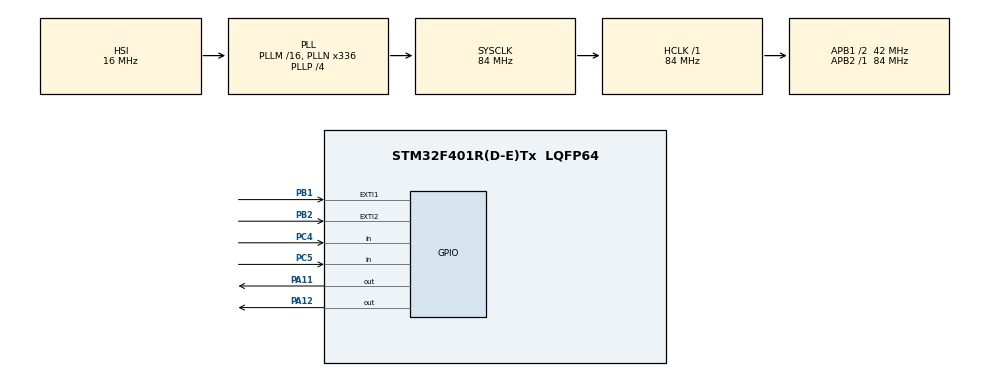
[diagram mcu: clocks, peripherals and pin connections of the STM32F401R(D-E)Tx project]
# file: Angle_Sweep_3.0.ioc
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Mcu.Family=STM32F4
Mcu.Name=STM32F401R(D-E)Tx
Mcu.Package=LQFP64
NVIC.EXTI1_IRQn=true\:0\:0\:false\:false\:true\:true\:true\:true
NVIC.EXTI2_IRQn=true\:0\:0\:false\:false\:true\:true\:true\:true
NVIC.PriorityGroup=NVIC_PRIORITYGROUP_0
NVIC.TIM1_UP_TIM10_IRQn=true\:0\:0\:false\:false\:true\:true\:true\:true
PA11.Signal=GPIO_Output
PA12.Signal=GPIO_Output
PB1.GPIO_PuPd=GPIO_PULLUP
PB1.Signal=GPXTI1
PB2.GPIO_PuPd=GPIO_PULLUP
PB2.Signal=GPXTI2
PC4.GPIO_PuPd=GPIO_PULLDOWN
PC4.Signal=GPIO_Input
PC5.GPIO_PuPd=GPIO_PULLDOWN
PC5.Signal=GPIO_Input
ProjectManager.HeapSize=0x200
ProjectManager.StackSize=0x400
ProjectManager.TargetToolchain=STM32CubeIDE
RCC.48MHZClocksFreq_Value=48000000
RCC.AHBFreq_Value=84000000
RCC.APB1CLKDivider=RCC_HCLK_DIV2
RCC.APB1Freq_Value=42000000
RCC.APB1TimFreq_Value=84000000
RCC.APB2Freq_Value=84000000
RCC.APB2TimFreq_Value=84000000
RCC.CortexFreq_Value=84000000
RCC.HCLKFreq_Value=84000000
RCC.HSE_VALUE=8000000
RCC.HSI_VALUE=16000000
RCC.LSE_VALUE=32768
RCC.PLLN=336
RCC.PLLP=RCC_PLLP_DIV4
RCC.PLLQ=7
RCC.SYSCLKFreq_VALUE=84000000
RCC.SYSCLKSource=RCC_SYSCLKSOURCE_PLLCLK
RCC.VCOOutputFreq_Value=336000000
TIM10.AutoReloadPreload=TIM_AUTORELOAD_PRELOAD_ENABLE
TIM10.Period=500
TIM10.Prescaler=16000
VP_RTC_VS_RTC_Activate.Mode=RTC_Enabled
VP_RTC_VS_RTC_Calendar.Mode=RTC_Calendar
VP_TIM10_VS_ClockSourceINT.Mode=Enable_Timer
board=NUCLEO-F401RE

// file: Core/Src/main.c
/* USER CODE BEGIN Header */
/**
  ******************************************************************************
  * @file           : main.c
  * @brief          : Main program body
  ******************************************************************************
  * @attention
  *
  * Copyright (c) 2022 STMicroelectronics.
  * All rights reserved.
  *
  * This software is licensed under terms that can be found in the LICENSE file
  * in the root directory of this software component.
  * If no LICENSE file comes with this software, it is provided AS-IS.
  *
  ******************************************************************************
  */
/* USER CODE END Header */
#include "main.h"

/* USER CODE BEGIN Includes */
#include "stdio.h"
#include <stdlib.h>
#include <string.h>
/* USER CODE END Includes */

RTC_HandleTypeDef hrtc;

TIM_HandleTypeDef htim10;

void SystemClock_Config(void);
static void MX_GPIO_Init(void);
static void MX_RTC_Init(void);
static void MX_TIM10_Init(void);
/* USER CODE BEGIN PFP */
float angle_to_step(float angle);
float step_to_angle(float step);
void update_pos();
void motor_move(float angle);
/* USER CODE END PFP */

/* USER CODE BEGIN 0 */

volatile int state = 0;
/*
 * 0: Pre-homing state
 * 1: Normal function
 * 2: Exception. FC1 interruption mode
 * 3: Exception. FC2 interruption mode
 * */
volatile int sweep = 0;
/*
 * 0: No sweep
 * 1: Sweep
 * */
volatile int32_t pos0 = 0; //step in which the motor is
volatile int32_t pos1 = 0; //step in which the motor is
volatile int32_t pos2 = 0; //step in which the motor is
volatile float angle = 0; //value of the angle the motor has to be at any time
volatile int step = 0;
volatile int counter = 0;
volatile int counter_calibration = 0;
/*
 * 0: No step
 * 1: Step
 * */

volatile int direction = 1;
/*
 * 1: Increment
 *-1: Decrement
 * */

volatile int flag_end_movement = 0;

/* 0: movement not finished
 * 1: movement finished
 * */

// Angle constants
float max_angle = 50; //max sweeping angle
float min_angle = -50; //min sweeping angle
float FC1_angle = -55.1; //security angle
float FC2_angle = 55.1; //calibration angle
float increment = 0.5;

// Timer constants

uint32_t sweep_time = 60; // s

//Initialization parameters

static volatile uint16_t gLastError;
L6474_Init_t gL6474InitParams =
{
    160,                               /// Acceleration rate in step/s2. Range: (0..+inf).
    160,                               /// Deceleration rate in step/s2. Range: (0..+inf).
    800,                              /// Maximum speed in step/s. Range: (30..10000].
    800,                               ///Minimum speed in step/s. Range: [30..10000).
    500,                               ///Torque regulation current in mA. (TVAL register) Range: 31.25mA to 4000mA.
    1000,                               ///Overcurrent threshold (OCD_TH register). Range: 375mA to 6000mA.
    L6474_CONFIG_OC_SD_ENABLE,         ///Overcurrent shutwdown (OC_SD field of CONFIG register).
    L6474_CONFIG_EN_TQREG_TVAL_USED,   /// Torque regulation method (EN_TQREG field of CONFIG register).
    L6474_STEP_SEL_1_16,               /// Step selection (STEP_SEL field of STEP_MODE register).
    L6474_SYNC_SEL_1_2,                /// Sync selection (SYNC_SEL field of STEP_MODE register).
    L6474_FAST_STEP_12us,              /// Fall time value (T_FAST field of T_FAST register). Range: 2us to 32us.
    L6474_TOFF_FAST_8us,               /// Maximum fast decay time (T_OFF field of T_FAST register). Range: 2us to 32us.
    3,                                 /// Minimum ON time in us (TON_MIN register). Range: 0.5us to 64us.
    21,                                /// Minimum OFF time in us (TOFF_MIN register). Range: 0.5us to 64us.
    L6474_CONFIG_TOFF_044us,           /// Target Swicthing Period (field TOFF of CONFIG register).
    L6474_CONFIG_SR_320V_us,           /// Slew rate (POW_SR field of CONFIG register).
    L6474_CONFIG_INT_16MHZ,            /// Clock setting (OSC_CLK_SEL field of CONFIG register).
    (L6474_ALARM_EN_OVERCURRENT      |
     L6474_ALARM_EN_THERMAL_SHUTDOWN |
     L6474_ALARM_EN_THERMAL_WARNING  |
     L6474_ALARM_EN_UNDERVOLTAGE     |
     L6474_ALARM_EN_SW_TURN_ON       |
     L6474_ALARM_EN_WRONG_NPERF_CMD)    /// Alarm (ALARM_EN register).
};
//Shield functions
void ErrorHandler_Shield(uint16_t error);
void MyFlagInterruptHandler(void)
{
  /* Get the value of the status register via the L6474 command GET_STATUS */
  uint16_t statusRegister = BSP_MotorControl_CmdGetStatus(0);

  /* Check HIZ flag: if set, power brigdes are disabled */
  if ((statusRegister & L6474_STATUS_HIZ) == L6474_STATUS_HIZ)
  {
    // HIZ state
    // Action to be customized
  }

  /* Check direction bit */
  if ((statusRegister & L6474_STATUS_DIR) == L6474_STATUS_DIR)
  {
    // Forward direction is set
    // Action to be customized
  }
  else
  {
    // Backward direction is set
    // Action to be customized
  }

  /* Check NOTPERF_CMD flag: if set, the command received by SPI can't be performed */
  /* This often occures when a command is sent to the L6474 */
  /* while it is in HIZ state */
  if ((statusRegister & L6474_STATUS_NOTPERF_CMD) == L6474_STATUS_NOTPERF_CMD)
  {
      // Command received by SPI can't be performed
     // Action to be customized
  }

  /* Check WRONG_CMD flag: if set, the command does not exist */
  if ((statusRegister & L6474_STATUS_WRONG_CMD) == L6474_STATUS_WRONG_CMD)
  {
     //command received by SPI does not exist
     // Action to be customized
  }

  /* Check UVLO flag: if not set, there is an undervoltage lock-out */
  if ((statusRegister & L6474_STATUS_UVLO) == 0)
  {
     //undervoltage lock-out
     // Action to be customized
  }

  /* Check TH_WRN flag: if not set, the thermal warning threshold is reached */
  if ((statusRegister & L6474_STATUS_TH_WRN) == 0)
  {
    //thermal warning threshold is reached
    // Action to be customized
  }

  /* Check TH_SHD flag: if not set, the thermal shut down threshold is reached */
  if ((statusRegister & L6474_STATUS_TH_SD) == 0)
  {
    //thermal shut down threshold is reached
    // Action to be customized
  }

  /* Check OCD  flag: if not set, there is an overcurrent detection */
  if ((statusRegister & L6474_STATUS_OCD) == 0)
  {
    //overcurrent detection
    // Action to be customized
  }

}

//Interruptions Callback
void HAL_GPIO_EXTI_Callback(uint16_t GPIO_Pin){

	if(GPIO_Pin == GPIO_PIN_2){ //Left FC standing at the north
		//Motor HardStop
		BSP_MotorControl_HardStop(0);
		BSP_MotorControl_HardStop(1);
		BSP_MotorControl_HardStop(2);
		state = 2;

	}
	else if(GPIO_Pin == GPIO_PIN_1){ //Right FC standing at the north
		//Motor HardStop
		BSP_MotorControl_HardStop(0);
		BSP_MotorControl_HardStop(1);
		BSP_MotorControl_HardStop(2);
		state = 3;

	}
	else if (GPIO_Pin == BSP_MOTOR_CONTROL_BOARD_FLAG_PIN) //Shield interrupt handler
	{
		BSP_MotorControl_FlagInterruptHandler();
	}
}

//Sweeper timer
void HAL_TIM_PeriodElapsedCallback(TIM_HandleTypeDef *htim){

	if (htim == &htim10){

	  //HAL_GPIO_TogglePin(GPIOA, GPIO_PIN_12);
	  counter++;

	  if (counter >= sweep_time){
		  sweep = 1; //start sweeping
		  counter = 0;

		  // If it's still in state 2 something went wrong
		  if (state == 2){
			  state = 0;
			  sweep = 0;
			  direction = 1;
		  }
	  }
	}

}

float angle_to_step(float angle){
	float conversion = angle * 164.8;
	return conversion;
}

float step_to_angle(float step){
	float conversion = angle / 164.8;
	return conversion;
}

void update_pos(){
	pos0 = BSP_MotorControl_GetPosition(0);
	pos1 = BSP_MotorControl_GetPosition(1);
	pos2 = BSP_MotorControl_GetPosition(2);
    angle = pos0 / 164.8;
}

void motor_move(float angle_to_go){
	update_pos();

	if (angle_to_go > angle){

		BSP_MotorControl_Move(0, FORWARD, 1);
		BSP_MotorControl_Move(1, FORWARD, 1);
		BSP_MotorControl_Move(2, FORWARD, 1);
		BSP_MotorControl_WaitWhileActive(0);
		BSP_MotorControl_WaitWhileActive(1);
		BSP_MotorControl_WaitWhileActive(2);
		update_pos();
	}

	else if (angle_to_go < angle){

		BSP_MotorControl_Move(0, BACKWARD, 1);
		BSP_MotorControl_Move(1, BACKWARD, 1);
		BSP_MotorControl_Move(2, BACKWARD, 1);
		BSP_MotorControl_WaitWhileActive(0);
		BSP_MotorControl_WaitWhileActive(1);
		BSP_MotorControl_WaitWhileActive(2);
		update_pos();
	}
	else {
		BSP_MotorControl_HardStop(0);
		flag_end_movement = 1;
		HAL_GPIO_WritePin(GPIOA, GPIO_PIN_11, RESET);
		HAL_GPIO_WritePin(GPIOA, GPIO_PIN_12, RESET);

	}

}
/* USER CODE END 0 */

int main(void)
{

  /* MCU Configuration--------------------------------------------------------*/

  /* Reset of all peripherals, Initializes the Flash interface and the Systick. */
  HAL_Init();

  /* Configure the system clock */
  SystemClock_Config();

  /* Initialise all configured peripherals */
  MX_GPIO_Init();
  MX_RTC_Init();
  MX_TIM10_Init();
  /* USER CODE BEGIN 2 */

  //Driver initialisation
  BSP_MotorControl_SetNbDevices(BSP_MOTOR_CONTROL_BOARD_ID_L6474, 3);

  /* Initialisation of first device */
  BSP_MotorControl_Init(BSP_MOTOR_CONTROL_BOARD_ID_L6474, &gL6474InitParams);
  /* Initialisation of second device */
  BSP_MotorControl_Init(BSP_MOTOR_CONTROL_BOARD_ID_L6474, &gL6474InitParams);
  /* Initialisation of third device */
  BSP_MotorControl_Init(BSP_MOTOR_CONTROL_BOARD_ID_L6474, &gL6474InitParams);

  BSP_MotorControl_AttachFlagInterrupt(MyFlagInterruptHandler);
  BSP_MotorControl_AttachErrorHandler(ErrorHandler_Shield);
  state = 0;

  /* USER CODE END 2 */

  /* Infinite loop */
  /* USER CODE BEGIN WHILE */
  while (1)
  {

	  if (state == 0){ //First calibration
		  BSP_MotorControl_SetMaxSpeed(0, 800);
		  BSP_MotorControl_SetMinSpeed(0, 800);
		  BSP_MotorControl_Move(0, FORWARD, 1);//Forward == Towards calibration FC
		  BSP_MotorControl_Move(1, FORWARD, 1);
		  BSP_MotorControl_Move(2, FORWARD, 1);
		  BSP_MotorControl_WaitWhileActive(0);
		  BSP_MotorControl_WaitWhileActive(1);
		  BSP_MotorControl_WaitWhileActive(2);
		  update_pos();
	  }
	  else if (state == 1){ //Normal behaviour
		  BSP_MotorControl_SetMaxSpeed(0, 600);
		  BSP_MotorControl_SetMinSpeed(0, 600);
		  if (sweep == 1){

			  if (direction == 1){

				  motor_move(min_angle);
				  HAL_GPIO_WritePin(GPIOA, GPIO_PIN_11, SET);
				  HAL_GPIO_WritePin(GPIOA, GPIO_PIN_12, RESET);

				  if (flag_end_movement == 1){
					  // movement finished -> reset and change direction
					  flag_end_movement = 0;
					  HAL_GPIO_WritePin(GPIOA, GPIO_PIN_11, RESET);
					  HAL_GPIO_WritePin(GPIOA, GPIO_PIN_12, RESET);
					  direction = -1;
					  sweep = 0;
					  counter_calibration++;
				  }
			  }

			  else if (direction == -1){

				  motor_move(max_angle);
				  HAL_GPIO_WritePin(GPIOA, GPIO_PIN_11, RESET);
				  HAL_GPIO_WritePin(GPIOA, GPIO_PIN_12, SET);

				  if (flag_end_movement == 1){
					  // movement finished -> reset and change direction
					  flag_end_movement = 0;
					  HAL_GPIO_WritePin(GPIOA, GPIO_PIN_11, RESET);
					  HAL_GPIO_WritePin(GPIOA, GPIO_PIN_12, RESET);
					  direction = 1;
					  sweep = 0;
					  counter_calibration++;
				  }
			  }
		  }
		  if (counter_calibration > 60){

			  counter_calibration = 0;
			  counter = 0;
			  state = 0;
			  sweep = 0;
			  direction = 1;
		  }
	  }

	  else if (state == 2){ //calibration FC

		  // Start timer
		  HAL_TIM_Base_Start_IT(&htim10);

		  //Set angle and step parameters
		  pos0 = BSP_MotorControl_GetPosition(0);
		  pos1 = BSP_MotorControl_GetPosition(1);
		  pos2 = BSP_MotorControl_GetPosition(2);
		  BSP_MotorControl_SetHome(0, pos0 - angle_to_step(FC2_angle));
		  BSP_MotorControl_SetHome(1, pos1 - angle_to_step(FC2_angle));
		  BSP_MotorControl_SetHome(2, pos2 - angle_to_step(FC2_angle));
		  update_pos();

		  //Move motors to starting position
		  while(angle > max_angle){
			  motor_move(max_angle);
		  }

		  // Go to state 1
		  state = 1;
		  HAL_GPIO_WritePin(GPIOA, GPIO_PIN_11, RESET);
		  HAL_GPIO_WritePin(GPIOA, GPIO_PIN_12, RESET);
	  }

	  else if (state == 3){ //secutiry FC
		  angle = FC1_angle;
		  HAL_TIM_Base_Stop_IT(&htim10);
		  state = 0;
	  }

    /* USER CODE END WHILE */

  }
}

void SystemClock_Config(void)
{
  RCC_OscInitTypeDef RCC_OscInitStruct = {0};
  RCC_ClkInitTypeDef RCC_ClkInitStruct = {0};

  /** Configure the main internal regulator output voltage
  */
  __HAL_RCC_PWR_CLK_ENABLE();
  __HAL_PWR_VOLTAGESCALING_CONFIG(PWR_REGULATOR_VOLTAGE_SCALE2);

  /** Initializes the RCC Oscillators according to the specified parameters
  * in the RCC_OscInitTypeDef structure.
  */
  RCC_OscInitStruct.OscillatorType = RCC_OSCILLATORTYPE_HSI|RCC_OSCILLATORTYPE_LSI;
  RCC_OscInitStruct.HSIState = RCC_HSI_ON;
  RCC_OscInitStruct.HSICalibrationValue = RCC_HSICALIBRATION_DEFAULT;
  RCC_OscInitStruct.LSIState = RCC_LSI_ON;
  RCC_OscInitStruct.PLL.PLLState = RCC_PLL_ON;
  RCC_OscInitStruct.PLL.PLLSource = RCC_PLLSOURCE_HSI;
  RCC_OscInitStruct.PLL.PLLM = 16;
  RCC_OscInitStruct.PLL.PLLN = 336;
  RCC_OscInitStruct.PLL.PLLP = RCC_PLLP_DIV4;
  RCC_OscInitStruct.PLL.PLLQ = 7;
  if (HAL_RCC_OscConfig(&RCC_OscInitStruct) != HAL_OK)
  {
    Error_Handler();
  }

  /** Initializes the CPU, AHB and APB buses clocks
  */
  RCC_ClkInitStruct.ClockType = RCC_CLOCKTYPE_HCLK|RCC_CLOCKTYPE_SYSCLK
                              |RCC_CLOCKTYPE_PCLK1|RCC_CLOCKTYPE_PCLK2;
  RCC_ClkInitStruct.SYSCLKSource = RCC_SYSCLKSOURCE_PLLCLK;
  RCC_ClkInitStruct.AHBCLKDivider = RCC_SYSCLK_DIV1;
  RCC_ClkInitStruct.APB1CLKDivider = RCC_HCLK_DIV2;
  RCC_ClkInitStruct.APB2CLKDivider = RCC_HCLK_DIV1;

  if (HAL_RCC_ClockConfig(&RCC_ClkInitStruct, FLASH_LATENCY_2) != HAL_OK)
  {
    Error_Handler();
  }
}

static void MX_RTC_Init(void)
{

  RTC_TimeTypeDef sTime = {0};
  RTC_DateTypeDef sDate = {0};

  /** Initialize RTC Only
  */
  hrtc.Instance = RTC;
  hrtc.Init.HourFormat = RTC_HOURFORMAT_24;
  hrtc.Init.AsynchPrediv = 127;
  hrtc.Init.SynchPrediv = 255;
  hrtc.Init.OutPut = RTC_OUTPUT_DISABLE;
  hrtc.Init.OutPutPolarity = RTC_OUTPUT_POLARITY_HIGH;
  hrtc.Init.OutPutType = RTC_OUTPUT_TYPE_OPENDRAIN;
  if (HAL_RTC_Init(&hrtc) != HAL_OK)
  {
    Error_Handler();
  }

  /** Initialize RTC and set the Time and Date
  */
  sTime.Hours = 0x0;
  sTime.Minutes = 0x0;
  sTime.Seconds = 0x0;
  sTime.DayLightSaving = RTC_DAYLIGHTSAVING_NONE;
  sTime.StoreOperation = RTC_STOREOPERATION_RESET;
  if (HAL_RTC_SetTime(&hrtc, &sTime, RTC_FORMAT_BCD) != HAL_OK)
  {
    Error_Handler();
  }
  sDate.WeekDay = RTC_WEEKDAY_MONDAY;
  sDate.Month = RTC_MONTH_JANUARY;
  sDate.Date = 0x1;
  sDate.Year = 0x0;

  if (HAL_RTC_SetDate(&hrtc, &sDate, RTC_FORMAT_BCD) != HAL_OK)
  {
    Error_Handler();
  }

}

static void MX_TIM10_Init(void)
{

  htim10.Instance = TIM10;
  htim10.Init.Prescaler = 8400 - 1;
  htim10.Init.CounterMode = TIM_COUNTERMODE_UP;
  htim10.Init.Period = 10000 - 1;
  htim10.Init.ClockDivision = TIM_CLOCKDIVISION_DIV1;
  htim10.Init.AutoReloadPreload = TIM_AUTORELOAD_PRELOAD_ENABLE;
  if (HAL_TIM_Base_Init(&htim10) != HAL_OK)
  {
    Error_Handler();
  }

}

static void MX_GPIO_Init(void)
{
  GPIO_InitTypeDef GPIO_InitStruct = {0};

  /* GPIO Ports Clock Enable */
  __HAL_RCC_GPIOC_CLK_ENABLE();
  __HAL_RCC_GPIOB_CLK_ENABLE();
  __HAL_RCC_GPIOA_CLK_ENABLE();

  /*Configure GPIO pin Output Level */
  HAL_GPIO_WritePin(GPIOA, GPIO_PIN_11|GPIO_PIN_12, GPIO_PIN_RESET);

  /*Configure GPIO pins : PC4 PC5 */
  GPIO_InitStruct.Pin = GPIO_PIN_4|GPIO_PIN_5;
  GPIO_InitStruct.Mode = GPIO_MODE_INPUT;
  GPIO_InitStruct.Pull = GPIO_PULLDOWN;
  HAL_GPIO_Init(GPIOC, &GPIO_InitStruct);

  /*Configure GPIO pins : PB1 PB2 */
  GPIO_InitStruct.Pin = GPIO_PIN_1|GPIO_PIN_2;
  GPIO_InitStruct.Mode = GPIO_MODE_IT_RISING;
  GPIO_InitStruct.Pull = GPIO_PULLUP;
  HAL_GPIO_Init(GPIOB, &GPIO_InitStruct);

  /*Configure GPIO pins : PA11 PA12 */
  GPIO_InitStruct.Pin = GPIO_PIN_11|GPIO_PIN_12;
  GPIO_InitStruct.Mode = GPIO_MODE_OUTPUT_PP;
  GPIO_InitStruct.Pull = GPIO_NOPULL;
  GPIO_InitStruct.Speed = GPIO_SPEED_FREQ_LOW;
  HAL_GPIO_Init(GPIOA, &GPIO_InitStruct);

  /* EXTI interrupt init*/
  HAL_NVIC_SetPriority(EXTI1_IRQn, 0, 0);
  HAL_NVIC_EnableIRQ(EXTI1_IRQn);

  HAL_NVIC_SetPriority(EXTI2_IRQn, 0, 0);
  HAL_NVIC_EnableIRQ(EXTI2_IRQn);

}

/* USER CODE BEGIN 4 */
int _write(int file, char *ptr, int len){
	int DataIdx;

	for(DataIdx = 0; DataIdx < len; DataIdx++){
		ITM_SendChar(*ptr++);
	}
	return len;
}

void ErrorHandler_Shield(uint16_t error)
{
  /* Backup error number */
  gLastError = error;

  /* Infinite loop */
  while(1)
  {
  }
}

/* USER CODE END 4 */

void Error_Handler(void)
{
  __disable_irq();
  while (1)
  {
  }
}
